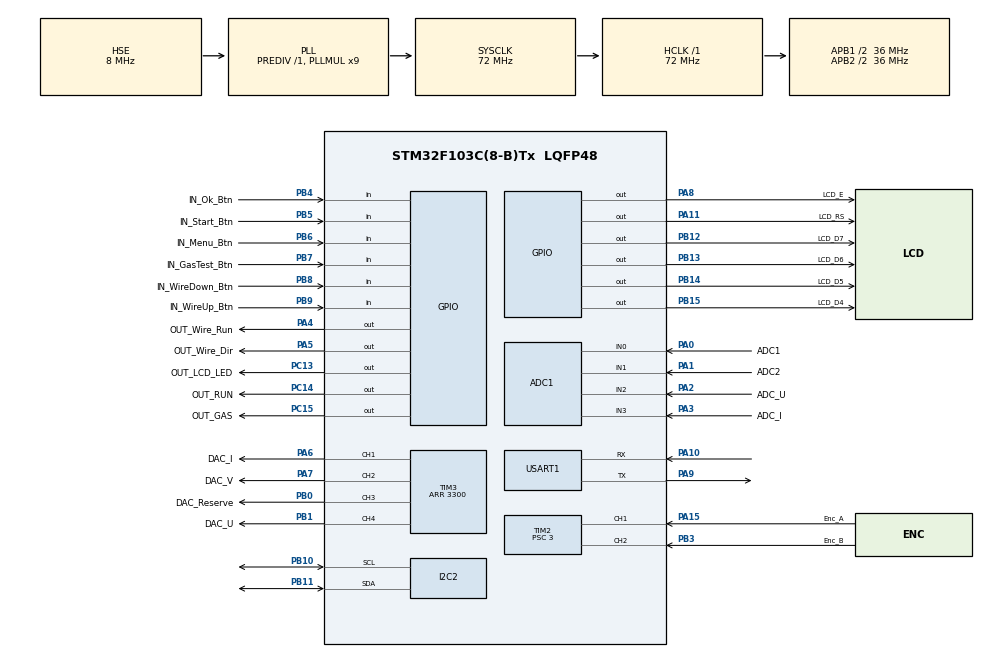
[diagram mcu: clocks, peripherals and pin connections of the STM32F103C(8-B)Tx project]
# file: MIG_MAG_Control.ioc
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ADC1.Channel-5\#ChannelRegularConversion=ADC_CHANNEL_0
ADC1.Channel-6\#ChannelRegularConversion=ADC_CHANNEL_1
ADC1.Channel-7\#ChannelRegularConversion=ADC_CHANNEL_2
ADC1.Channel-8\#ChannelRegularConversion=ADC_CHANNEL_3
ADC1.ContinuousConvMode=ENABLE
ADC1.EnableInjectedConversion=DISABLE
ADC1.EnableRegularConversion=ENABLE
ADC1.InjNumberOfConversion=4
ADC1.NbrOfConversion=4
ADC1.NbrOfConversionFlag=1
ADC1.Rank-5\#ChannelRegularConversion=1
ADC1.Rank-6\#ChannelRegularConversion=2
ADC1.Rank-7\#ChannelRegularConversion=3
ADC1.Rank-8\#ChannelRegularConversion=4
ADC1.SamplingTime-5\#ChannelRegularConversion=ADC_SAMPLETIME_239CYCLES_5
ADC1.SamplingTime-6\#ChannelRegularConversion=ADC_SAMPLETIME_239CYCLES_5
ADC1.SamplingTime-7\#ChannelRegularConversion=ADC_SAMPLETIME_239CYCLES_5
ADC1.SamplingTime-8\#ChannelRegularConversion=ADC_SAMPLETIME_239CYCLES_5
ADC1.master=1
Dma.ADC1.0.Direction=DMA_PERIPH_TO_MEMORY
Dma.ADC1.0.Instance=DMA1_Channel1
Dma.ADC1.0.MemDataAlignment=DMA_MDATAALIGN_HALFWORD
Dma.ADC1.0.MemInc=DMA_MINC_ENABLE
Dma.ADC1.0.Mode=DMA_CIRCULAR
Dma.ADC1.0.PeriphDataAlignment=DMA_PDATAALIGN_HALFWORD
Dma.ADC1.0.PeriphInc=DMA_PINC_DISABLE
Dma.ADC1.0.Priority=DMA_PRIORITY_LOW
Dma.Request0=ADC1
Dma.Request1=USART1_TX
Dma.Request2=USART1_RX
Dma.USART1_RX.2.Direction=DMA_PERIPH_TO_MEMORY
Dma.USART1_RX.2.Instance=DMA1_Channel5
Dma.USART1_RX.2.MemDataAlignment=DMA_MDATAALIGN_BYTE
Dma.USART1_RX.2.MemInc=DMA_MINC_ENABLE
Dma.USART1_RX.2.Mode=DMA_NORMAL
Dma.USART1_RX.2.PeriphDataAlignment=DMA_PDATAALIGN_BYTE
Dma.USART1_RX.2.PeriphInc=DMA_PINC_DISABLE
Dma.USART1_RX.2.Priority=DMA_PRIORITY_LOW
Dma.USART1_TX.1.Direction=DMA_MEMORY_TO_PERIPH
Dma.USART1_TX.1.Instance=DMA1_Channel4
Dma.USART1_TX.1.MemDataAlignment=DMA_MDATAALIGN_BYTE
Dma.USART1_TX.1.MemInc=DMA_MINC_ENABLE
Dma.USART1_TX.1.Mode=DMA_NORMAL
Dma.USART1_TX.1.PeriphDataAlignment=DMA_PDATAALIGN_BYTE
Dma.USART1_TX.1.PeriphInc=DMA_PINC_DISABLE
Dma.USART1_TX.1.Priority=DMA_PRIORITY_LOW
FREERTOS.MEMORY_ALLOCATION=1
FREERTOS.Mutexes01=valueSetMutex,Static,valueSetMutexControlBlock;valuePresentMutex,Static,valuePresentMutexControlBlock;temperatureMutex,Static,temperatureMutexControlBlock
FREERTOS.Tasks01=displayTask,0,128,StartDisplayTask,Default,NULL,Static,displayTaskBuffer,displayTaskControlBlock;controlTask,0,256,StartControlTask,Default,NULL,Static,controTaskBuffer,controTaskControlBlock;keyScanTask,0,64,StartKeyScanTask,Default,NULL,Static,keyScanTaskBuffer,keyScanTaskControlBlock;temperature,-2,64,StartTemperature,Default,NULL,Static,temperatureBuffer,temperatureControlBlock;saveMode,-2,64,StartSaveMode,Default,NULL,Static,saveModeBuffer,saveModeControlBlock
FREERTOS.configCHECK_FOR_STACK_OVERFLOW=0
FREERTOS.configMAX_PRIORITIES=4
FREERTOS.configMINIMAL_STACK_SIZE=64
FREERTOS.configRECORD_STACK_HIGH_ADDRESS=1
FREERTOS.configTICK_RATE_HZ=1000
FREERTOS.configUSE_COUNTING_SEMAPHORES=0
FREERTOS.configUSE_MALLOC_FAILED_HOOK=0
FREERTOS.configUSE_MUTEXES=1
FREERTOS.configUSE_NEWLIB_REENTRANT=1
FREERTOS.configUSE_TASK_NOTIFICATIONS=1
FREERTOS.configUSE_TIMERS=0
Mcu.Family=STM32F1
Mcu.Name=STM32F103C(8-B)Tx
Mcu.Package=LQFP48
NVIC.DMA1_Channel1_IRQn=true\:10\:0\:true\:false\:true\:false\:false\:true\:true
NVIC.DMA1_Channel4_IRQn=true\:5\:0\:false\:false\:true\:true\:false\:true\:true
NVIC.DMA1_Channel5_IRQn=true\:5\:0\:false\:false\:true\:true\:false\:true\:true
NVIC.PriorityGroup=NVIC_PRIORITYGROUP_4
NVIC.TIM1_UP_IRQn=true\:15\:0\:false\:false\:true\:false\:false\:true\:true
NVIC.TIM4_IRQn=true\:2\:0\:true\:false\:true\:false\:true\:true\:true
NVIC.TimeBase=TIM1_UP_IRQn
NVIC.TimeBaseIP=TIM1
NVIC.USART1_IRQn=true\:5\:0\:false\:false\:true\:true\:true\:true\:true
PA0-WKUP.GPIO_Label=ADC1
PA0-WKUP.Signal=ADCx_IN0
PA1.GPIO_Label=ADC2
PA1.Signal=ADCx_IN1
PA10.Mode=Asynchronous
PA10.Signal=USART1_RX
PA11.GPIO_Label=LCD_RS
PA11.GPIO_ModeDefaultOutputPP=GPIO_MODE_OUTPUT_OD
PA11.GPIO_PuPd=GPIO_NOPULL
PA11.Signal=GPIO_Output
PA13.Mode=Serial_Wire
PA13.Signal=SYS_JTMS-SWDIO
PA14.Mode=Serial_Wire
PA14.Signal=SYS_JTCK-SWCLK
PA15.GPIO_Label=Enc_A
PA15.Signal=S_TIM2_CH1_ETR
PA2.GPIO_Label=ADC_U
PA2.Signal=ADCx_IN2
PA3.GPIO_Label=ADC_I
PA3.Signal=ADCx_IN3
PA4.GPIO_Label=OUT_Wire_Run
PA4.GPIO_Speed=GPIO_SPEED_FREQ_MEDIUM
PA4.Signal=GPIO_Output
PA5.GPIO_Label=OUT_Wire_Dir
PA5.GPIO_Speed=GPIO_SPEED_FREQ_MEDIUM
PA5.Signal=GPIO_Output
PA6.GPIO_Label=DAC_I
PA6.GPIO_Speed=GPIO_SPEED_FREQ_HIGH
PA6.Signal=S_TIM3_CH1
PA7.GPIO_Label=DAC_V
PA7.GPIO_Speed=GPIO_SPEED_FREQ_HIGH
PA7.Signal=S_TIM3_CH2
PA8.GPIO_Label=LCD_E
PA8.GPIO_ModeDefaultOutputPP=GPIO_MODE_OUTPUT_OD
PA8.GPIO_PuPd=GPIO_NOPULL
PA8.GPIO_Speed=GPIO_SPEED_FREQ_LOW
PA8.Signal=GPIO_Output
PA9.GPIO_Speed=GPIO_SPEED_FREQ_LOW
PA9.Mode=Asynchronous
PA9.Signal=USART1_TX
PB0.GPIO_Label=DAC_Reserve
PB0.GPIO_Speed=GPIO_SPEED_FREQ_HIGH
PB0.Signal=S_TIM3_CH3
PB1.GPIO_Label=DAC_U
PB1.GPIO_Speed=GPIO_SPEED_FREQ_HIGH
PB1.Signal=S_TIM3_CH4
PB10.GPIO_Pu=GPIO_PULLUP
PB10.Mode=I2C
PB10.Signal=I2C2_SCL
PB11.GPIO_Pu=GPIO_PULLUP
PB11.Mode=I2C
PB11.Signal=I2C2_SDA
PB12.GPIO_Label=LCD_D7
PB12.GPIO_ModeDefaultOutputPP=GPIO_MODE_OUTPUT_OD
PB12.GPIO_Speed=GPIO_SPEED_FREQ_LOW
PB12.PinState=GPIO_PIN_RESET
PB12.Signal=GPIO_Output
PB13.GPIO_Label=LCD_D6
PB13.GPIO_ModeDefaultOutputPP=GPIO_MODE_OUTPUT_OD
PB13.GPIO_Speed=GPIO_SPEED_FREQ_LOW
PB13.Signal=GPIO_Output
PB14.GPIO_Label=LCD_D5
PB14.GPIO_ModeDefaultOutputPP=GPIO_MODE_OUTPUT_OD
PB14.GPIO_Speed=GPIO_SPEED_FREQ_LOW
PB14.Signal=GPIO_Output
PB15.GPIO_Label=LCD_D4
PB15.GPIO_ModeDefaultOutputPP=GPIO_MODE_OUTPUT_OD
PB15.GPIO_Speed=GPIO_SPEED_FREQ_LOW
PB15.Signal=GPIO_Output
PB3.GPIO_Label=Enc_B
PB3.Signal=S_TIM2_CH2
PB4.GPIO_Label=IN_Ok_Btn
PB4.GPIO_PuPd=GPIO_NOPULL
PB4.Signal=GPIO_Input
PB5.GPIO_Label=IN_Start_Btn
PB5.GPIO_PuPd=GPIO_PULLUP
PB5.Signal=GPIO_Input
PB6.GPIO_Label=IN_Menu_Btn
PB6.GPIO_PuPd=GPIO_NOPULL
PB6.Signal=GPIO_Input
PB7.GPIO_Label=IN_GasTest_Btn
PB7.GPIO_PuPd=GPIO_NOPULL
PB7.Signal=GPIO_Input
PB8.GPIO_Label=IN_WireDown_Btn
PB8.GPIO_PuPd=GPIO_NOPULL
PB8.Signal=GPIO_Input
PB9.GPIO_Label=IN_WireUp_Btn
PB9.GPIO_PuPd=GPIO_NOPULL
PB9.Signal=GPIO_Input
PC13-TAMPER-RTC.GPIO_Label=OUT_LCD_LED
PC13-TAMPER-RTC.GPIO_Speed=GPIO_SPEED_FREQ_MEDIUM
PC13-TAMPER-RTC.Signal=GPIO_Output
PC14-OSC32_IN.GPIO_Label=OUT_RUN
PC14-OSC32_IN.GPIO_Speed=GPIO_SPEED_FREQ_MEDIUM
PC14-OSC32_IN.PinState=GPIO_PIN_SET
PC14-OSC32_IN.Signal=GPIO_Output
PC15-OSC32_OUT.GPIO_Label=OUT_GAS
PC15-OSC32_OUT.GPIO_Speed=GPIO_SPEED_FREQ_MEDIUM
PC15-OSC32_OUT.Signal=GPIO_Output
PD0-OSC_IN.Mode=HSE-External-Oscillator
PD0-OSC_IN.Signal=RCC_OSC_IN
PD1-OSC_OUT.Mode=HSE-External-Oscillator
PD1-OSC_OUT.Signal=RCC_OSC_OUT
ProjectManager.HeapSize=0x200
ProjectManager.StackSize=0x400
ProjectManager.TargetToolchain=Makefile
RCC.ADCPresc=RCC_ADCPCLK2_DIV8
RCC.AHBFreq_Value=72000000
RCC.APB1CLKDivider=RCC_HCLK_DIV2
RCC.APB1Freq_Value=36000000
RCC.APB1TimFreq_Value=72000000
RCC.APB2CLKDivider=RCC_HCLK_DIV2
RCC.APB2Freq_Value=36000000
RCC.APB2TimFreq_Value=72000000
RCC.HCLKFreq_Value=72000000
RCC.PLLMUL=RCC_PLL_MUL9
RCC.PLLSourceVirtual=RCC_PLLSOURCE_HSE
RCC.SYSCLKFreq_VALUE=72000000
RCC.SYSCLKSource=RCC_SYSCLKSOURCE_PLLCLK
RCC.USBFreq_Value=72000000
SH.ADCx_IN0.0=ADC1_IN0,IN0
SH.ADCx_IN1.0=ADC1_IN1,IN1
SH.ADCx_IN2.0=ADC1_IN2,IN2
SH.ADCx_IN3.0=ADC1_IN3,IN3
SH.S_TIM2_CH1_ETR.0=TIM2_CH1,Encoder_Interface
SH.S_TIM2_CH2.0=TIM2_CH2,Encoder_Interface
SH.S_TIM3_CH1.0=TIM3_CH1,PWM Generation1 CH1
SH.S_TIM3_CH2.0=TIM3_CH2,PWM Generation2 CH2
SH.S_TIM3_CH3.0=TIM3_CH3,PWM Generation3 CH3
SH.S_TIM3_CH4.0=TIM3_CH4,PWM Generation4 CH4
TIM2.EncoderMode=TIM_ENCODERMODE_TI12
TIM2.IC1Filter=5
TIM2.IC1Polarity=TIM_ICPOLARITY_FALLING
TIM2.IC2Filter=5
TIM2.IC2Polarity=TIM_ICPOLARITY_FALLING
TIM2.Period=65535
TIM2.Prescaler=3
TIM2.TIM_MasterOutputTrigger=TIM_TRGO_UPDATE
TIM3.Channel-PWM\ Generation1\ CH1=TIM_CHANNEL_1
TIM3.Channel-PWM\ Generation2\ CH2=TIM_CHANNEL_2
TIM3.Channel-PWM\ Generation3\ CH3=TIM_CHANNEL_3
TIM3.Channel-PWM\ Generation4\ CH4=TIM_CHANNEL_4
TIM3.Period=3300
TIM3.Pulse-PWM\ Generation1\ CH1=0
TIM3.Pulse-PWM\ Generation2\ CH2=0
TIM3.Pulse-PWM\ Generation3\ CH3=25
TIM3.Pulse-PWM\ Generation4\ CH4=0
TIM4.Period=99
TIM4.Prescaler=71
USART1.VirtualMode=VM_ASYNC
VP_CRC_VS_CRC.Mode=CRC_Activate
VP_FREERTOS_VS_CMSIS_V1.Mode=CMSIS_V1
VP_SYS_VS_tim1.Mode=TIM1
VP_TIM3_VS_ClockSourceINT.Mode=Internal
VP_TIM4_VS_ClockSourceINT.Mode=Internal
board=custom

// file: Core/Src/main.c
/* USER CODE BEGIN Header */
/**
 ******************************************************************************
 * @file           : main.c
 * @brief          : Main program body
 ******************************************************************************
 * @attention
 *
 * <h2><center>&copy; Copyright (c) 2020 STMicroelectronics.
 * All rights reserved.</center></h2>
 *
 * This software component is licensed by ST under BSD 3-Clause license,
 * the "License"; You may not use this file except in compliance with the
 * License. You may obtain a copy of the License at:
 *                        opensource.org/licenses/BSD-3-Clause
 *
 ******************************************************************************
 */
/* USER CODE END Header */
#include "main.h"
#include "cmsis_os.h"
#include "adc.h"
#include "crc.h"
#include "dma.h"
#include "i2c.h"
#include "tim.h"
#include "usart.h"
#include "gpio.h"

/* USER CODE BEGIN Includes */
#include "lcd.h"
/* USER CODE END Includes */

/* USER CODE BEGIN PV */
extern Lcd_HandleTypeDef lcd;
/* USER CODE END PV */

void SystemClock_Config(void);
void MX_FREERTOS_Init(void);

int main(void)
{

  /* MCU Configuration--------------------------------------------------------*/

  /* Reset of all peripherals, Initializes the Flash interface and the Systick. */
  HAL_Init();

  /* Configure the system clock */
  SystemClock_Config();

  /* Initialize all configured peripherals */
  MX_GPIO_Init();
  MX_DMA_Init();
  MX_ADC1_Init();
  MX_TIM2_Init();
  MX_TIM3_Init();
  MX_TIM4_Init();
  MX_I2C2_Init();
  MX_CRC_Init();
  MX_USART1_UART_Init();

  /* Call init function for freertos objects (in freertos.c) */
  MX_FREERTOS_Init();

  /* Start scheduler */
  osKernelStart();

  /* We should never get here as control is now taken by the scheduler */
  /* Infinite loop */
  while (1)
  {

  }
}

void SystemClock_Config(void)
{
  RCC_OscInitTypeDef RCC_OscInitStruct = {0};
  RCC_ClkInitTypeDef RCC_ClkInitStruct = {0};
  RCC_PeriphCLKInitTypeDef PeriphClkInit = {0};

  /** Initializes the RCC Oscillators according to the specified parameters
  * in the RCC_OscInitTypeDef structure.
  */
  RCC_OscInitStruct.OscillatorType = RCC_OSCILLATORTYPE_HSE;
  RCC_OscInitStruct.HSEState = RCC_HSE_ON;
  RCC_OscInitStruct.HSEPredivValue = RCC_HSE_PREDIV_DIV1;
  RCC_OscInitStruct.HSIState = RCC_HSI_ON;
  RCC_OscInitStruct.PLL.PLLState = RCC_PLL_ON;
  RCC_OscInitStruct.PLL.PLLSource = RCC_PLLSOURCE_HSE;
  RCC_OscInitStruct.PLL.PLLMUL = RCC_PLL_MUL9;
  if (HAL_RCC_OscConfig(&RCC_OscInitStruct) != HAL_OK)
  {
    Error_Handler();
  }

  /** Initializes the CPU, AHB and APB buses clocks
  */
  RCC_ClkInitStruct.ClockType = RCC_CLOCKTYPE_HCLK|RCC_CLOCKTYPE_SYSCLK
                              |RCC_CLOCKTYPE_PCLK1|RCC_CLOCKTYPE_PCLK2;
  RCC_ClkInitStruct.SYSCLKSource = RCC_SYSCLKSOURCE_PLLCLK;
  RCC_ClkInitStruct.AHBCLKDivider = RCC_SYSCLK_DIV1;
  RCC_ClkInitStruct.APB1CLKDivider = RCC_HCLK_DIV2;
  RCC_ClkInitStruct.APB2CLKDivider = RCC_HCLK_DIV2;

  if (HAL_RCC_ClockConfig(&RCC_ClkInitStruct, FLASH_LATENCY_2) != HAL_OK)
  {
    Error_Handler();
  }
  PeriphClkInit.PeriphClockSelection = RCC_PERIPHCLK_ADC;
  PeriphClkInit.AdcClockSelection = RCC_ADCPCLK2_DIV8;
  if (HAL_RCCEx_PeriphCLKConfig(&PeriphClkInit) != HAL_OK)
  {
    Error_Handler();
  }
}

void HAL_TIM_PeriodElapsedCallback(TIM_HandleTypeDef *htim)
{
  if (htim->Instance == TIM1) {
    HAL_IncTick();
  }
  /* USER CODE BEGIN Callback 1 */
    if (htim->Instance == TIM4)
        {
  	Lcd_Timer_Callback(&lcd);
    	}
  /* USER CODE END Callback 1 */
}

void Error_Handler(void)
{
}

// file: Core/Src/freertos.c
/* USER CODE BEGIN Header */
/**
 ******************************************************************************
 * File Name          : freertos.c
 * Description        : Code for freertos applications
 ******************************************************************************
 * @attention
 *
 * <h2><center>&copy; Copyright (c) 2020 STMicroelectronics.
 * All rights reserved.</center></h2>
 *
 * This software component is licensed by ST under Ultimate Liberty license
 * SLA0044, the "License"; You may not use this file except in compliance with
 * the License. You may obtain a copy of the License at:
 *                             www.st.com/SLA0044
 *
 ******************************************************************************
 */
/* USER CODE END Header */

#include "FreeRTOS.h"
#include "task.h"
#include "main.h"
#include "cmsis_os.h"

/* USER CODE BEGIN Includes */
#include "lcd.h"
#include "MicroMenu.h"
#include "stdbool.h"
#include "math.h"
#include "tim.h"
#include "adc.h"
#include "dma.h"
#include "parameter.h"
#include "eeprom.h"
#include "dsp.h"
#include "PLC.h"
#include "onewire.h"
/* USER CODE END Includes */

/* USER CODE BEGIN PD */
#define ON GPIO_PIN_SET
#define OFF GPIO_PIN_RESET

#define WELDING_RUN(state) HAL_GPIO_WritePin(OUT_RUN_GPIO_Port, OUT_RUN_Pin, !state)
#define IS_WELDING_RUN !HAL_GPIO_ReadPin(OUT_RUN_GPIO_Port, OUT_RUN_Pin)

#define GAS_RUN(state) HAL_GPIO_WritePin(OUT_GAS_GPIO_Port, OUT_GAS_Pin, (GPIO_PinState)state)
#define IS_GAS_RUN HAL_GPIO_ReadPin(OUT_GAS_GPIO_Port, OUT_GAS_Pin)

#define WIRE_RUN(state) HAL_GPIO_WritePin(OUT_Wire_Run_GPIO_Port, OUT_Wire_Run_Pin, state)
#define IS_WIRE_RUN HAL_GPIO_ReadPin(OUT_Wire_Run_GPIO_Port, OUT_Wire_Run_Pin)

#define WIRE_DIR(state) HAL_GPIO_WritePin(OUT_Wire_Dir_GPIO_Port, OUT_Wire_Dir_Pin, state)
#define IS_WIRE_DIR HAL_GPIO_ReadPin(OUT_Wire_Dir_GPIO_Port, OUT_Wire_Dir_Pin)
#define WIREDOWN 0
#define WIREUP 1
#define GASTEST 2
#define MENU 3
#define OK 4
#define START 5
/* USER CODE END PD */

/* USER CODE BEGIN Variables */
void valueEditRun(void);
GPIO_PinState key[6]; // состояние кнопок
M_Type keyPLC[6];
M_Type keyMenu[6];
volatile uint16_t adc[4];
volatile uint16_t adc0Filter = 0;
volatile uint16_t adc1Filter = 0;
volatile uint16_t adc2Filter = 0;
volatile uint16_t adc3Filter = 0;
int32_t temperature[2] = {0, 0};

Lcd_PortType ports[] = {LCD_D4_GPIO_Port, LCD_D5_GPIO_Port, LCD_D6_GPIO_Port, LCD_D7_GPIO_Port};
Lcd_PinType pins[] = {LCD_D4_Pin, LCD_D5_Pin, LCD_D6_Pin, LCD_D7_Pin};
Lcd_HandleTypeDef lcd;
// Диапазоны параметров
const range_t Urange = {0.0, 30.0};
const range_t Irange = {0.0, 215.0};
const range_t Vrange = {1.0, 10.0};
const range_t Trange = {0.0, 10.0};
const range_t SetCoderange = {0.0, 3300};
const range_t PresCoderange = {0.0, 4095};
//Параметры сварки
parameter_t U_Set = {15.0, &Urange, 0.1, "U", "V"};				   // Уставка напряжения
parameter_t I_Set = {215.0, &Irange, 1.0, "I", "A"};			   // Уставка тока
parameter_t V_Set = {2.5, &Vrange, 0.1, "V", "mm/min"};			   // Уставка скорости подачи проволоки
parameter_t Wire_On = {0.5, &Trange, 0.1, "Wire on", "s"};		   // Задержка подачи проволоки
parameter_t Welding_Off = {0.5, &Trange, 0.1, "Welding off", "s"}; // Задержка отключения источника
parameter_t Gas_Before = {1.0, &Trange, 0.1, "Gas before", "s"};   // Газ до сварки
parameter_t Gas_After = {1.0, &Trange, 0.1, "Gas after", "s"};	   // Газ после сварки
parameter_t V_Manual = {1.0, &Vrange, 0.1, "V", "mm/min"};		   // Проволока вручную
parameter_t V_Manual_Marsh = {1.0, &Vrange, 0.1, "V", "mm/min"};
// Измеренные значения
float U_Present = 0;
float I_Present = 0;
// Калибровочные коэффициенты
parameter_t U_Set_Code_Min = {840.0, &SetCoderange, 1.0, "USetCodeMin", ""};
parameter_t U_Set_Value_Min = {15.0, &Urange, 0.1, "USetValueMin", "V"};
parameter_t U_Set_Code_Max = {2000.0, &SetCoderange, 1.0, "USetCodeMax", ""};
parameter_t U_Set_Value_Max = {30.0, &Urange, 0.1, "USetValueMax", "V"};

parameter_t I_Set_Code_Min = {1850.0, &SetCoderange, 1.0, "ISetCodeMin", ""};
parameter_t I_Set_Value_Min = {50.0, &Irange, 1.0, "ISetValueMin", "A"};
parameter_t I_Set_Code_Max = {0.0, &SetCoderange, 1.0, "ISetCodeMax", ""};
parameter_t I_Set_Value_Max = {215.0, &Irange, 1.0, "ISetValueMax", "A"};

parameter_t V_Set_Code_Min = {800.0, &SetCoderange, 1.0, "VSetCodeMin", ""};
parameter_t V_Set_Value_Min = {2.2, &Vrange, 0.1, "VSetValueMin", "mm/min"};
parameter_t V_Set_Code_Max = {3300.0, &SetCoderange, 1.0, "VSetCodeMax", ""};
parameter_t V_Set_Value_Max = {8.7, &Vrange, 0.1, "VSetValueMax", "mm/min"};

parameter_t U_Present_Code_Min = {870.0, &PresCoderange, 1.0, "UPresentCodeMin", ""};
parameter_t U_Present_Value_Min = {15.0, &Urange, 0.1, "UPresentValMin", "V"};
parameter_t U_Present_Code_Max = {1700.0, &PresCoderange, 1.0, "UPresentCodeMax", ""};
parameter_t U_Present_Value_Max = {30.0, &Urange, 0.1, "UPresentValMax", "V"};

parameter_t I_Present_Code_Min = {400.0, &PresCoderange, 1.0, "IPresentCodeMin", ""};
parameter_t I_Present_Value_Min = {40.0, &Irange, 1.0, "IPresentValMin", "A"};
parameter_t I_Present_Code_Max = {2750.0, &PresCoderange, 1.0, "IPresentCodeMax", ""};
parameter_t I_Present_Value_Max = {215.0, &Irange, 1.0, "IPresentValMax", "A"};

parameter_t *pVar = &U_Set;
parameter_t *pEditValue;
//Параметры для сохранения
float *const Parameters[6][4] = {
	{&Gas_Before.value, &Gas_After.value, &Wire_On.value, &Welding_Off.value},
	{&U_Set_Code_Min.value, &U_Set_Value_Min.value, &U_Set_Code_Max.value, &U_Set_Value_Max.value},
	{&I_Set_Code_Min.value, &I_Set_Value_Min.value, &I_Set_Code_Max.value, &I_Set_Value_Max.value},
	{&V_Set_Code_Min.value, &V_Set_Value_Min.value, &V_Set_Code_Max.value, &V_Set_Value_Max.value},
	{&U_Present_Code_Min.value, &U_Present_Value_Min.value, &U_Present_Code_Max.value, &U_Present_Value_Max.value},
	{&I_Present_Code_Min.value, &I_Present_Value_Min.value, &I_Present_Code_Max.value, &I_Present_Value_Max.value}};

//----------MENU------------------
//        Name,		Next,		Previous,	Parent,		Child,		SelectFunc,	EnterFunc,		Text
//		  �?мя,		Следующ,	Предыдущ,	Верхн,		Вложен,		Функц выбор,
MENU_ITEM(Menu_1, Menu_2, NULL_MENU, NULL_MENU, Menu_1_1, NULL, NULL, NULL, "Wire");

MENU_ITEM(Menu_1_1, Menu_1_2, Menu_1_4, Menu_1, NULL_MENU, NULL, valueEditRun, &Wire_On, "Wire on time");
MENU_ITEM(Menu_1_2, Menu_1_3, Menu_1_1, Menu_1, NULL_MENU, NULL, valueEditRun, &Welding_Off, "Welding off time");
MENU_ITEM(Menu_1_3, Menu_1_4, Menu_1_2, Menu_1, NULL_MENU, NULL, valueEditRun, &V_Manual, "Manual speed");
MENU_ITEM(Menu_1_4, Menu_1_1, Menu_1_3, Menu_1, NULL_MENU, NULL, valueEditRun, &V_Manual_Marsh, "Marsh speed");

MENU_ITEM(Menu_2, Menu_3, Menu_1, NULL_MENU, Menu_2_1, NULL, NULL, NULL, "Gas");

MENU_ITEM(Menu_2_1, Menu_2_2, NULL_MENU, Menu_2, NULL_MENU, NULL, valueEditRun, &Gas_Before, "Before");
MENU_ITEM(Menu_2_2, NULL_MENU, Menu_2_1, Menu_2, NULL_MENU, NULL, valueEditRun, &Gas_After, "After");

MENU_ITEM(Menu_3, NULL_MENU, Menu_2, NULL_MENU, Menu_3_1, NULL, NULL, NULL, "Calibration");

MENU_ITEM(Menu_3_1, Menu_3_2, NULL_MENU, Menu_3, NULL_MENU, NULL, valueEditRun, &U_Set_Code_Min, "USetCodeMin");
MENU_ITEM(Menu_3_2, Menu_3_3, Menu_3_1, Menu_3, NULL_MENU, NULL, valueEditRun, &U_Set_Value_Min, "USetValueMin");
MENU_ITEM(Menu_3_3, Menu_3_4, Menu_3_2, Menu_3, NULL_MENU, NULL, valueEditRun, &U_Set_Code_Max, "USetCodeMax");
MENU_ITEM(Menu_3_4, Menu_3_5, Menu_3_3, Menu_3, NULL_MENU, NULL, valueEditRun, &U_Set_Value_Max, "USetValueMax");
MENU_ITEM(Menu_3_5, Menu_3_6, Menu_3_4, Menu_3, NULL_MENU, NULL, valueEditRun, &I_Set_Code_Min, "ISetCodeMin");
MENU_ITEM(Menu_3_6, Menu_3_7, Menu_3_5, Menu_3, NULL_MENU, NULL, valueEditRun, &I_Set_Value_Min, "ISetValueMin");
MENU_ITEM(Menu_3_7, Menu_3_8, Menu_3_6, Menu_3, NULL_MENU, NULL, valueEditRun, &I_Set_Code_Max, "ISetCodeMax");
MENU_ITEM(Menu_3_8, Menu_3_9, Menu_3_7, Menu_3, NULL_MENU, NULL, valueEditRun, &I_Set_Value_Max, "ISetValueMax");
MENU_ITEM(Menu_3_9, Menu_3_10, Menu_3_8, Menu_3, NULL_MENU, NULL, valueEditRun, &V_Set_Code_Min, "VSetCodeMin");
MENU_ITEM(Menu_3_10, Menu_3_11, Menu_3_9, Menu_3, NULL_MENU, NULL, valueEditRun, &V_Set_Value_Min, "VSetValueMin");
MENU_ITEM(Menu_3_11, Menu_3_12, Menu_3_10, Menu_3, NULL_MENU, NULL, valueEditRun, &V_Set_Code_Max, "VSetCodeMax");
MENU_ITEM(Menu_3_12, Menu_3_13, Menu_3_11, Menu_3, NULL_MENU, NULL, valueEditRun, &V_Set_Value_Max, "VSetValueMax");
MENU_ITEM(Menu_3_13, Menu_3_14, Menu_3_12, Menu_3, NULL_MENU, NULL, valueEditRun, &U_Present_Code_Min, "UPresentCodeMin");
MENU_ITEM(Menu_3_14, Menu_3_15, Menu_3_13, Menu_3, NULL_MENU, NULL, valueEditRun, &U_Present_Value_Min, "UPresentValueMin");
MENU_ITEM(Menu_3_15, Menu_3_16, Menu_3_14, Menu_3, NULL_MENU, NULL, valueEditRun, &U_Present_Code_Max, "UPresentCodeMax");
MENU_ITEM(Menu_3_16, Menu_3_17, Menu_3_15, Menu_3, NULL_MENU, NULL, valueEditRun, &U_Present_Value_Max, "UPresentValueMax");
MENU_ITEM(Menu_3_17, Menu_3_18, Menu_3_16, Menu_3, NULL_MENU, NULL, valueEditRun, &I_Present_Code_Min, "IPresentCodeMin");
MENU_ITEM(Menu_3_18, Menu_3_19, Menu_3_17, Menu_3, NULL_MENU, NULL, valueEditRun, &I_Present_Value_Min, "IPresentValueMin");
MENU_ITEM(Menu_3_19, Menu_3_20, Menu_3_18, Menu_3, NULL_MENU, NULL, valueEditRun, &I_Present_Code_Max, "IPresentCodeMax");
MENU_ITEM(Menu_3_20, NULL_MENU, Menu_3_19, Menu_3, NULL_MENU, NULL, valueEditRun, &I_Present_Value_Max, "IPresentValueMax");
//------------END MENU---------------
// extern float Temp[MAXDEVICES_ON_THE_BUS];
/* USER CODE END Variables */
osThreadId displayTaskHandle;
uint32_t displayTaskBuffer[128];
osStaticThreadDef_t displayTaskControlBlock;
osThreadId controlTaskHandle;
uint32_t controTaskBuffer[256];
osStaticThreadDef_t controTaskControlBlock;
osThreadId keyScanTaskHandle;
uint32_t keyScanTaskBuffer[64];
osStaticThreadDef_t keyScanTaskControlBlock;
osThreadId temperatureHandle;
uint32_t temperatureBuffer[64];
osStaticThreadDef_t temperatureControlBlock;
osThreadId saveModeHandle;
uint32_t saveModeBuffer[128];
osStaticThreadDef_t saveModeControlBlock;
osMutexId valueSetMutexHandle;
osStaticMutexDef_t valueSetMutexControlBlock;
osMutexId valuePresentMutexHandle;
osStaticMutexDef_t valuePresentMutexControlBlock;
osMutexId temperatureMutexHandle;
osStaticMutexDef_t temperatureMutexControlBlock;

/* USER CODE BEGIN FunctionPrototypes */
int32_t encGetCount(TIM_HandleTypeDef *tmr);
void saveSettings(void);
void loadSettings(void);
void saveMode(void);
void loadMode(void);
void menuDisplayUpdate(void);
/* USER CODE END FunctionPrototypes */

void StartDisplayTask(void const *argument);
void StartControlTask(void const *argument);
void StartKeyScanTask(void const *argument);
void StartTemperature(void const *argument);
void StartSaveMode(void const *argument);

void MX_FREERTOS_Init(void); /* (MISRA C 2004 rule 8.1) */

/* GetIdleTaskMemory prototype (linked to static allocation support) */
void vApplicationGetIdleTaskMemory(StaticTask_t **ppxIdleTaskTCBBuffer, StackType_t **ppxIdleTaskStackBuffer, uint32_t *pulIdleTaskStackSize);

/* USER CODE BEGIN GET_IDLE_TASK_MEMORY */
static StaticTask_t xIdleTaskTCBBuffer;
static StackType_t xIdleStack[configMINIMAL_STACK_SIZE];

void vApplicationGetIdleTaskMemory(StaticTask_t **ppxIdleTaskTCBBuffer, StackType_t **ppxIdleTaskStackBuffer, uint32_t *pulIdleTaskStackSize)
{
	*ppxIdleTaskTCBBuffer = &xIdleTaskTCBBuffer;
	*ppxIdleTaskStackBuffer = &xIdleStack[0];
	*pulIdleTaskStackSize = configMINIMAL_STACK_SIZE;
	/* place for user code */
}
/* USER CODE END GET_IDLE_TASK_MEMORY */

void MX_FREERTOS_Init(void)
{
	/* USER CODE BEGIN Init */
	HAL_Delay(50);
	lcd = Lcd_create(ports, pins, LCD_RS_GPIO_Port, LCD_RS_Pin, LCD_E_GPIO_Port, LCD_E_Pin, &htim4);
	HAL_ADCEx_Calibration_Start(&hadc1);
	HAL_ADC_Start_DMA(&hadc1, (uint32_t *)&adc, 4);
	HAL_TIM_PWM_Start_IT(&htim3, TIM_CHANNEL_1);
	HAL_TIM_PWM_Start_IT(&htim3, TIM_CHANNEL_2);
	HAL_TIM_PWM_Start_IT(&htim3, TIM_CHANNEL_3);
	HAL_TIM_PWM_Start_IT(&htim3, TIM_CHANNEL_4);
	HAL_TIM_Base_Start_IT(&htim4);
	HAL_TIM_Encoder_Start(&htim2, TIM_CHANNEL_1);
	HAL_Delay(10);

	/* USER CODE END Init */
	/* Create the mutex(es) */
	/* definition and creation of valueSetMutex */
	osMutexStaticDef(valueSetMutex, &valueSetMutexControlBlock);
	valueSetMutexHandle = osMutexCreate(osMutex(valueSetMutex));

	/* definition and creation of valuePresentMutex */
	osMutexStaticDef(valuePresentMutex, &valuePresentMutexControlBlock);
	valuePresentMutexHandle = osMutexCreate(osMutex(valuePresentMutex));

	/* definition and creation of temperatureMutex */
	osMutexStaticDef(temperatureMutex, &temperatureMutexControlBlock);
	temperatureMutexHandle = osMutexCreate(osMutex(temperatureMutex));

	/* Create the thread(s) */
	/* definition and creation of displayTask */
	osThreadStaticDef(displayTask, StartDisplayTask, osPriorityNormal, 0, 128, displayTaskBuffer, &displayTaskControlBlock);
	displayTaskHandle = osThreadCreate(osThread(displayTask), NULL);

	/* definition and creation of controlTask */
	osThreadStaticDef(controlTask, StartControlTask, osPriorityNormal, 0, 256, controTaskBuffer, &controTaskControlBlock);
	controlTaskHandle = osThreadCreate(osThread(controlTask), NULL);

	/* definition and creation of keyScanTask */
	osThreadStaticDef(keyScanTask, StartKeyScanTask, osPriorityNormal, 0, 64, keyScanTaskBuffer, &keyScanTaskControlBlock);
	keyScanTaskHandle = osThreadCreate(osThread(keyScanTask), NULL);

	/* definition and creation of temperature */
	osThreadStaticDef(temperature, StartTemperature, osPriorityLow, 0, 64, temperatureBuffer, &temperatureControlBlock);
	temperatureHandle = osThreadCreate(osThread(temperature), NULL);

	/* definition and creation of saveMode */
	osThreadStaticDef(saveMode, StartSaveMode, osPriorityLow, 0, 128, saveModeBuffer, &saveModeControlBlock);
	saveModeHandle = osThreadCreate(osThread(saveMode), NULL);

	/* USER CODE BEGIN RTOS_THREADS */
	/* add threads, ... */
	osThreadSuspend(displayTaskHandle);
	//	osThreadSuspend(menuControlHandle);

	/* USER CODE END RTOS_THREADS */
}

void StartDisplayTask(void const *argument)
{
	/* USER CODE BEGIN StartDisplayTask */
	/* Infinite loop */
	float uSet = 0;
	float vSet = 0;
	float iSet = 0;
	float uPresentDisplay = 0;
	float iPresentDisplay = 0;
	float temperatureDisplay[2] = {0, 0};
	for (;;)
	{

		osMutexWait(valueSetMutexHandle, osWaitForever);
		uSet = U_Set.value;
		vSet = V_Set.value;
		iSet = I_Set.value;
		osMutexRelease(valueSetMutexHandle);
		if (IS_WIRE_RUN && IS_WELDING_RUN)
		{
			osMutexWait(valuePresentMutexHandle, osWaitForever);
			uPresentDisplay = U_Present;
			iPresentDisplay = I_Present;
			osMutexRelease(valuePresentMutexHandle);
		}
		osMutexWait(temperatureMutexHandle, osWaitForever);
		temperatureDisplay[0] = temperature[0];
		temperatureDisplay[1] = temperature[1];
		osMutexRelease(temperatureMutexHandle);
		Lcd_clear(&lcd);
		Lcd_cursor(&lcd, 0, 1);
		Lcd_string(&lcd, "U");
		Lcd_float(&lcd, uSet, 1);
		Lcd_cursor(&lcd, 0, 8);
		if (pVar == &I_Set)
		{
			Lcd_string(&lcd, "I");
			Lcd_float(&lcd, temperatureDisplay[0], 0);
			Lcd_string(&lcd, " ");
			Lcd_float(&lcd, temperatureDisplay[1], 0);
			// Lcd_float(&lcd, iSet, 0);
		}
		else
		{
			Lcd_string(&lcd, "V");
			Lcd_float(&lcd, vSet, 1);
		}
		Lcd_cursor(&lcd, 1, 2);
		Lcd_float(&lcd, uPresentDisplay, 1);

		Lcd_cursor(&lcd, 1, 9);
		Lcd_float(&lcd, iPresentDisplay, 0);

		if (pVar == &U_Set)
		{
			Lcd_cursor(&lcd, 0, 0);
		}
		else
		{
			Lcd_cursor(&lcd, 0, 7);
		}
		Lcd_string(&lcd, ">");

		Lcd_cursor(&lcd, 0, 13);
		if (IS_GAS_RUN)
		{
			Lcd_string(&lcd, "G");
		}
		Lcd_cursor(&lcd, 0, 15);
		if (IS_WELDING_RUN)
		{
			Lcd_string(&lcd, "A");
		}
		Lcd_cursor(&lcd, 1, 13);
		if (IS_WIRE_RUN)
		{
			Lcd_string(&lcd, "W");
			if (IS_WIRE_DIR)
			{
				Lcd_string(&lcd, "D");
			}
			else
			{
				Lcd_string(&lcd, "U");
			}
		}
		osDelay(100);
	}
	/* USER CODE END StartDisplayTask */
}

void StartControlTask(void const *argument)
{
	/* USER CODE BEGIN StartControlTask */

	HAL_GPIO_WritePin(OUT_LCD_LED_GPIO_Port, OUT_LCD_LED_Pin, GPIO_PIN_SET);
	Lcd_cursor(&lcd, 0, 5);
	Lcd_string(&lcd, "LOAD");
	loadSettings();
	loadMode();
	osDelay(400);
	Lcd_clear(&lcd);

	osThreadResume(displayTaskHandle);
	// uint16_t state = 0;
	M_Type cicle, gasCicle, weldingCicle, wireCicle, menuMode, menuModefront, editMode;
	T_Type gasBefore_T, gasAfter_T, wireOn_T, weldingOff_T;
	/* Infinite loop */
	for (;;)
	{
		for (size_t i = 0; i < 6; i++)
		{
			keyPLC[i].state = key[i];
		}
		if (LDI(menuMode) && LDI(editMode))
		{
			if (LDP(keyPLC[OK]))
			{
				if (pVar == &U_Set)
					pVar = &V_Set;
				else if (pVar == &V_Set)
					pVar = &I_Set;
				else if (pVar == &I_Set)
					pVar = &U_Set;
			}
			int32_t encoderCount = encGetCount(&htim2);
			float uPresent = calibration((float)adc2Filter, U_Present_Code_Min.value, U_Present_Value_Min.value, U_Present_Code_Max.value, U_Present_Value_Max.value);
			float iPresent = calibration((float)adc3Filter, I_Present_Code_Min.value, I_Present_Value_Min.value, I_Present_Code_Max.value, I_Present_Value_Max.value);
			osMutexWait(valueSetMutexHandle, osWaitForever);
			inc(pVar, encoderCount, 1.0);
			osMutexRelease(valueSetMutexHandle);
			osMutexWait(valuePresentMutexHandle, osWaitForever);
			U_Present = RCfilter(uPresent, U_Present, 0.98);
			I_Present = RCfilter(iPresent, I_Present, 0.98);
			osMutexRelease(valuePresentMutexHandle);

			TMR(&gasAfter_T, LDI(weldingCicle), Gas_After.value * 1000.0);
			gasCicle = OUT((LD(keyPLC[START]) || LD(gasCicle)) && (LD(keyPLC[START]) || !gasAfter_T.curr));
			TMR(&gasBefore_T, LD(keyPLC[START]) || LD(weldingCicle), Gas_Before.value * 1000.0);
			weldingCicle = OUT(gasBefore_T.curr && !weldingOff_T.curr);
			TMR(&wireOn_T, LD(keyPLC[START]) && LD(weldingCicle), Wire_On.value * 1000);
			wireCicle = OUT(wireOn_T.curr);
			TMR(&weldingOff_T, LDI(keyPLC[START]) && LDI(wireCicle), Welding_Off.value * 1000.0);
			cicle = OUT(LD(gasCicle));

			GAS_RUN((LD(keyPLC[GASTEST]) && LDI(cicle)) || LD(gasCicle));
			WIRE_RUN(((LD(keyPLC[WIREDOWN]) || LD(keyPLC[WIREUP])) && LDI(cicle)) || LD(wireCicle));
			WIRE_DIR((LD(keyPLC[WIREDOWN]) && LDI(cicle)) || LD(wireCicle));
			WELDING_RUN(LD(weldingCicle));

			// float uPresent1 = calibration((float)adc2Filter, U_Present_Code_Min.value, U_Present_Value_Min.value, U_Present_Code_Max.value, U_Present_Value_Max.value);
			// U_Present = RCfilter(uPresent1, U_Present, 0.5);
			//	float iPresent1 = calibration((float)adc3Filter, I_Present_Code_Min.value, I_Present_Value_Min.value, I_Present_Code_Max.value, I_Present_Value_Max.value);
			//	I_Present = RCfilter(iPresent1, I_Present, 0.5);

			uint16_t USetCode = (uint16_t)calibration(U_Set.value, U_Set_Value_Min.value, U_Set_Code_Min.value, U_Set_Value_Max.value, U_Set_Code_Max.value);
			USetCode = rangeLimitInt(USetCode, SetCoderange.min, SetCoderange.max);
			//	if (state==0)
			//	{
			__HAL_TIM_SET_COMPARE(&htim3, TIM_CHANNEL_4, USetCode);
			//	state=1;
			//	}
			//	else
			//	{
			//		__HAL_TIM_SET_COMPARE(&htim3, TIM_CHANNEL_4, 0);
			//		state=0;
			//	}
			uint16_t ISetCode = (uint16_t)calibration(I_Set.value, I_Set_Value_Min.value, I_Set_Code_Min.value, I_Set_Value_Max.value, I_Set_Code_Max.value);
			ISetCode = rangeLimitInt(ISetCode, SetCoderange.min, SetCoderange.max);
			__HAL_TIM_SET_COMPARE(&htim3, TIM_CHANNEL_1, ISetCode);
			uint16_t VSetCode = 0;
			if (wireCicle.state)
			{
				VSetCode = (uint16_t)calibration(V_Set.value, V_Set_Value_Min.value, V_Set_Code_Min.value, V_Set_Value_Max.value, V_Set_Code_Max.value);
			}
			else
			{
				VSetCode = (uint16_t)calibration(V_Manual.value, V_Set_Value_Min.value, V_Set_Code_Min.value, V_Set_Value_Max.value, V_Set_Code_Max.value);
			}
			VSetCode = rangeLimitInt(VSetCode, SetCoderange.min, SetCoderange.max);
			__HAL_TIM_SET_COMPARE(&htim3, TIM_CHANNEL_2, VSetCode);

			if (LDP(keyPLC[MENU])&&LDI(cicle))
			{
				menuMode.state = true;
				Menu_Navigate(&Menu_1);
				osThreadSuspend(displayTaskHandle);
			}
		}
		menuModefront.state = (LD(menuMode) && LDI(editMode));
		if (LD(menuMode) && LDI(editMode))
		{

			if (LDP(menuModefront))
				menuDisplayUpdate();
			int32_t encoderCount = encGetCount(&htim2);
			if (encoderCount > 0 && (Menu_GetCurrentMenu()->Next != &NULL_MENU))
			{
				Menu_Navigate(MENU_NEXT);
				menuDisplayUpdate();
			}
			if (encoderCount < 0 && (Menu_GetCurrentMenu()->Previous != &NULL_MENU))
			{
				Menu_Navigate(MENU_PREVIOUS);
				menuDisplayUpdate();
			}
			if (LDP(keyPLC[OK]))
			{
				if ((Menu_GetCurrentMenu()->Child != &NULL_MENU))
				{
					Menu_Navigate(MENU_CHILD);
					menuDisplayUpdate();
				}
				else
				{
					Menu_EnterCurrentItem();
					menuMode.state = false;
					editMode.state = true;
				}
			}
			if (!LDP(menuMode) && LDP(keyPLC[MENU]))
			{
				if (Menu_GetCurrentMenu()->Parent != &NULL_MENU)
				{
					Menu_Navigate(MENU_PARENT);
					menuDisplayUpdate();
				}
				else
				{
					Lcd_clear(&lcd);
					Lcd_cursor(&lcd, 0, 5);
					Lcd_string(&lcd, "SAVE");
					saveSettings();
					osDelay(400);
					Lcd_clear(&lcd);
					menuMode.state = false;
					osThreadResume(displayTaskHandle);
				}
			}
		}
		if (LD(editMode) && LDI(menuMode))
		{
			float stepFactor;
			parameter_t value;
			if (LDP(editMode))
			{
				value = *pEditValue;
			}
			if (!LDP(editMode) && LDP(keyPLC[OK]))
			{
				Lcd_clear(&lcd);
				Lcd_cursor(&lcd, 0, 5);
				Lcd_string(&lcd, "OK");
				*pEditValue = value;
				menuMode.state = true;
				editMode.state = false;
				osDelay(1000);
			}
			if (!LDP(editMode) && LDP(keyPLC[MENU]))
			{
				Lcd_clear(&lcd);
				Lcd_cursor(&lcd, 0, 5);
				Lcd_string(&lcd, "CANCEL");
				//*pEditValue=value;
				menuMode.state = true;
				editMode.state = false;
				osDelay(1000);
			}
			if (LD(keyPLC[GASTEST]))
			{
				stepFactor = 10.0;
			}
			else
			{
				stepFactor = 1.0;
			}
			int32_t encoderCount = encGetCount(&htim2);
			if (encoderCount != 0 || LDP(editMode))
			{
				inc(&value, encoderCount, stepFactor);
				Lcd_clear(&lcd);
				Lcd_cursor(&lcd, 0, 1);
				Lcd_string(&lcd, value.name);
				Lcd_cursor(&lcd, 1, 1);
				Lcd_float(&lcd, value.value, 4);
				Lcd_string(&lcd, value.unit);
			}
		}

		for (size_t i = 0; i < 6; i++)
		{
			keyPLC[i].oldState = keyPLC[i].state;
		}
		menuMode.oldState = menuMode.state;
		menuModefront.oldState = menuModefront.state;
		editMode.oldState = editMode.state;
		cicle.oldState = cicle.state;
		gasCicle.oldState = gasCicle.state;
		wireCicle.oldState = wireCicle.state;
		weldingCicle.oldState = weldingCicle.state;
		osDelay(10);
	}
	/* USER CODE END StartControlTask */
}

void StartKeyScanTask(void const *argument)
{
	/* USER CODE BEGIN StartKeyScanTask */

	/* Infinite loop */
	for (;;)
	{
		key[WIREDOWN] = !HAL_GPIO_ReadPin(IN_WireDown_Btn_GPIO_Port, IN_WireDown_Btn_Pin);
		key[WIREUP] = !HAL_GPIO_ReadPin(IN_WireDown_Btn_GPIO_Port, IN_WireUp_Btn_Pin);
		key[GASTEST] = !HAL_GPIO_ReadPin(IN_GasTest_Btn_GPIO_Port, IN_GasTest_Btn_Pin);
		key[MENU] = !HAL_GPIO_ReadPin(IN_Menu_Btn_GPIO_Port, IN_Menu_Btn_Pin);
		key[OK] = !HAL_GPIO_ReadPin(IN_Ok_Btn_GPIO_Port, IN_Ok_Btn_Pin);
		key[START] = !HAL_GPIO_ReadPin(IN_Start_Btn_GPIO_Port, IN_Start_Btn_Pin);
		osDelay(70);
	}
	/* USER CODE END StartKeyScanTask */
}

void StartTemperature(void const *argument)
{
	/* USER CODE BEGIN StartTemperature */
	osDelay(1000);
	/* Infinite loop */
	for (;;)
	{
			OW_Measure();
			osDelay(750);
			int32_t temp0 = OW_Read_Sensors(0);
			osDelay(1000);
		    OW_Measure();
			osDelay(750);
			int32_t temp1 = OW_Read_Sensors(1);
			osMutexWait(temperatureMutexHandle, osWaitForever);
			temperature[0] = temp1;
			temperature[1]= temp0;
			osMutexRelease(temperatureMutexHandle);
		osDelay(1000);
	}
	/* USER CODE END StartTemperature */
}

void StartSaveMode(void const *argument)
{
	/* USER CODE BEGIN StartSaveMode */
	/* Infinite loop */
	float uSet = 0;
	float uSetOld = 0;
	float vSet = 0;
	float vSetOld = 0;
	bool valueVariable = false;
	uint32_t count = 0;
	osDelay(1000);
	osMutexWait(valueSetMutexHandle, osWaitForever);
	uSet = U_Set.value;
	vSet = V_Set.value;
	osMutexRelease(valueSetMutexHandle);
	uSetOld = uSet;
	vSetOld = vSet;
	for (;;)
	{
		osDelay(1000);
		osMutexWait(valueSetMutexHandle, osWaitForever);
		uSet = U_Set.value;
		vSet = V_Set.value;
		osMutexRelease(valueSetMutexHandle);
		if (!(uSet == uSetOld && vSet == vSetOld))
		{
			valueVariable = true;
			count = 0;
		}
		if (valueVariable && count++ >= 10)
		{
			valueVariable = false;
			saveMode();
		}
		uSetOld = uSet;
		vSetOld = vSet;
	}
	/* USER CODE END StartSaveMode */
}

/* USER CODE BEGIN Application */
void valueEditRun(void)
{
	pEditValue = Menu_GetCurrentMenu()->pointer;
}
void saveSettings(void)
{
	float writePar[] = {0.0, 0.0, 0.0, 0.0};
	for (size_t i = 0; i < 6; i++)
	{
		for (size_t j = 0; j < 4; j++)
		{
			writePar[j] = *Parameters[i][j];
		}
		writeEeprom(i * 32, writePar, sizeof(writePar));
		osDelay(100);
	}
}
void loadSettings(void)
{
	float readPar[] = {0.0, 0.0, 0.0, 0.0};
	for (size_t i = 0; i < 6; i++)
	{
		if (readEeprom(i * 32, readPar, sizeof(readPar)) == HAL_OK)
		{
			for (size_t j = 0; j < 4; j++)
			{
				*Parameters[i][j] = readPar[j];
			}
			osDelay(100);
		}
	}
}
void saveMode(void)
{
	float writePar[] = {0.0, 0.0, 0.0, 0.0};
	osMutexWait(valueSetMutexHandle, osWaitForever);
	writePar[0] = U_Set.value;
	writePar[1] = V_Set.value;
	osMutexRelease(valueSetMutexHandle);
	writeEeprom(192, writePar, sizeof(writePar));
}
void loadMode(void)
{
	float readPar[] = {0.0, 0.0, 0.0, 0.0};
	if (readEeprom(192, readPar, sizeof(readPar)) == HAL_OK)
	{
		osMutexWait(valueSetMutexHandle, osWaitForever);
		U_Set.value = readPar[0];
		V_Set.value = readPar[1];
		osMutexRelease(valueSetMutexHandle);
	}
}
void menuDisplayUpdate(void)
{
	Menu_Item_t *currMemuItem = Menu_GetCurrentMenu();
	Lcd_clear(&lcd);
	Lcd_cursor(&lcd, 0, 5);
	if (currMemuItem->Parent == &NULL_MENU)
		Lcd_string(&lcd, "MENU");
	else
		Lcd_string(&lcd, currMemuItem->Parent->Text);
	Lcd_cursor(&lcd, 1, 1);
	Lcd_string(&lcd, currMemuItem->Text);
}

int32_t encGetCount(TIM_HandleTypeDef *tmr)
{
	int16_t count = __HAL_TIM_GetCounter(tmr);
	__HAL_TIM_SetCounter(tmr, 0);
	return count;
}
void HAL_ADC_ConvHalfCpltCallback(ADC_HandleTypeDef *hadc)
{
	static uint32_t adctmp[4] = {0};
	static uint8_t pointer = 0;
	if (hadc->Instance == ADC1)
	{
		for (size_t i = 0; i < 4; i++)
		{
			adctmp[i] += adc[i];
		}
		if (pointer++ >= 32)
		{
			pointer = 0;
			adc0Filter = adctmp[0] >> 5;
			adc1Filter = adctmp[1] >> 5;
			adc2Filter = adctmp[2] >> 5;
			adc3Filter = adctmp[3] >> 5;
			for (size_t i = 0; i < 4; i++)
			{
				adctmp[i] = 0;
			}
		}
	}
}
/* USER CODE END Application */
